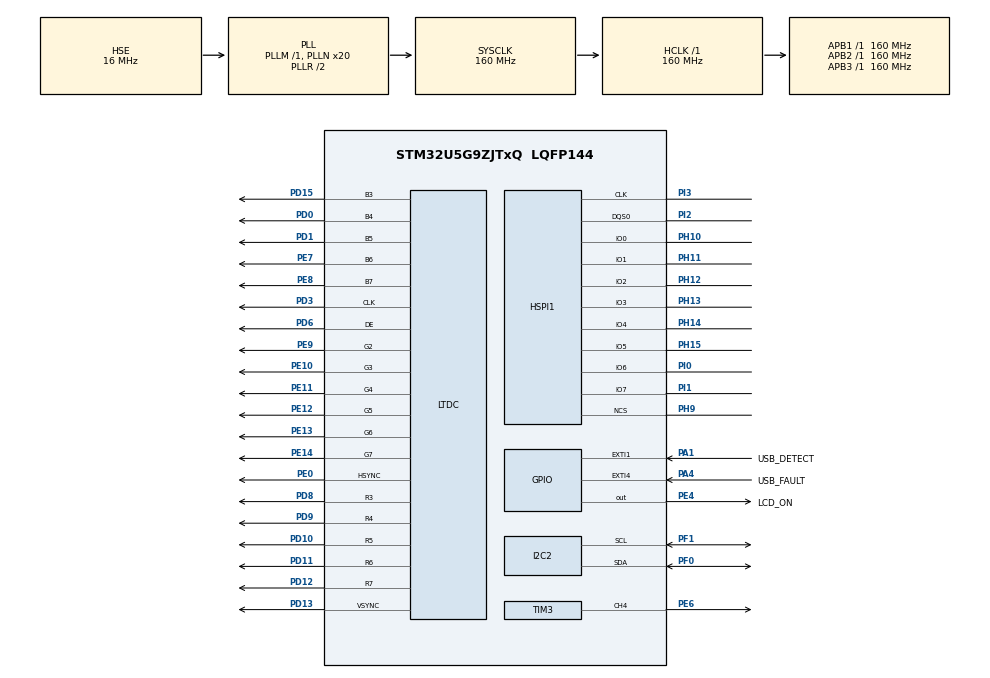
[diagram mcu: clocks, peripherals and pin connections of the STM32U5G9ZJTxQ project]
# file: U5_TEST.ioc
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CORTEX_M33_NS.userName=CORTEX_M33
I2C2.Timing=0x30909DEC
Mcu.Family=STM32U5
Mcu.Name=STM32U5G9ZJTxQ
Mcu.Package=LQFP144
NVIC.EXTI1_IRQn=true\:0\:0\:false\:false\:true\:true\:true\:true
NVIC.EXTI4_IRQn=true\:0\:0\:false\:false\:true\:true\:true\:true
NVIC.PriorityGroup=NVIC_PRIORITYGROUP_4
NVIC.TIM6_IRQn=true\:0\:0\:false\:false\:true\:true\:true\:true
PA1.GPIO_Label=USB_DETECT
PA1.GPIO_ModeDefaultEXTI=GPIO_MODE_IT_RISING_FALLING
PA1.Signal=GPXTI1
PA10.Signal=USART1_RX
PA11.Signal=USB_OTG_HS_DM
PA12.Signal=USB_OTG_HS_DP
PA13\ (JTMS/SWDIO).Mode=Serial_Wire
PA13\ (JTMS/SWDIO).Signal=DEBUG_JTMS-SWDIO
PA14\ (JTCK/SWCLK).Mode=Serial_Wire
PA14\ (JTCK/SWCLK).Signal=DEBUG_JTCK-SWCLK
PA4.GPIO_Label=USB_FAULT
PA4.GPIO_ModeDefaultEXTI=GPIO_MODE_IT_FALLING
PA4.GPIO_PuPd=GPIO_PULLUP
PA4.Signal=GPXTI4
PA9.Signal=USART1_TX
PB2.Signal=LTDC_B1
PB3\ (JTDO/TRACESWO).Signal=DEBUG_JTDO-SWO
PC14-OSC32_IN\ (PC14).Mode=LSE-External-Oscillator
PC14-OSC32_IN\ (PC14).Signal=RCC_OSC32_IN
PC15-OSC32_OUT\ (PC15).Mode=LSE-External-Oscillator
PC15-OSC32_OUT\ (PC15).Signal=RCC_OSC32_OUT
PC6.Signal=LTDC_R0
PC7.Signal=LTDC_R1
PD0.Mode=RGB565
PD0.Signal=LTDC_B4
PD1.Mode=RGB565
PD1.Signal=LTDC_B5
PD10.Mode=RGB565
PD10.Signal=LTDC_R5
PD11.Mode=RGB565
PD11.Signal=LTDC_R6
PD12.Mode=RGB565
PD12.Signal=LTDC_R7
PD13.Mode=RGB565
PD13.Signal=LTDC_VSYNC
PD15.Mode=RGB565
PD15.Signal=LTDC_B3
PD3.Mode=RGB565
PD3.Signal=LTDC_CLK
PD6.Mode=RGB565
PD6.Signal=LTDC_DE
PD8.Mode=RGB565
PD8.Signal=LTDC_R3
PD9.Mode=RGB565
PD9.Signal=LTDC_R4
PE0.Mode=RGB565
PE0.Signal=LTDC_HSYNC
PE10.Mode=RGB565
PE10.Signal=LTDC_G3
PE11.Mode=RGB565
PE11.Signal=LTDC_G4
PE12.Mode=RGB565
PE12.Signal=LTDC_G5
PE13.Mode=RGB565
PE13.Signal=LTDC_G6
PE14.Mode=RGB565
PE14.Signal=LTDC_G7
PE4.GPIO_Label=LCD_ON
PE4.PinState=GPIO_PIN_SET
PE4.Signal=GPIO_Output
PE6.Signal=S_TIM3_CH4
PE7.Mode=RGB565
PE7.Signal=LTDC_B6
PE8.Mode=RGB565
PE8.Signal=LTDC_B7
PE9.Mode=RGB565
PE9.Signal=LTDC_G2
PF0.Mode=I2C
PF0.Signal=I2C2_SDA
PF1.Mode=I2C
PF1.Signal=I2C2_SCL
PH0-OSC_IN\ (PH0).Mode=HSE-External-Oscillator
PH0-OSC_IN\ (PH0).Signal=RCC_OSC_IN
PH1-OSC_OUT\ (PH1).Mode=HSE-External-Oscillator
PH1-OSC_OUT\ (PH1).Signal=RCC_OSC_OUT
PH10.Mode=octo_mode
PH10.Signal=HSPI1_IO0
PH11.Mode=octo_mode
PH11.Signal=HSPI1_IO1
PH12.Mode=octo_mode
PH12.Signal=HSPI1_IO2
PH13.Mode=octo_mode
PH13.Signal=HSPI1_IO3
PH14.Mode=octo_mode
PH14.Signal=HSPI1_IO4
PH15.Mode=octo_mode
PH15.Signal=HSPI1_IO5
PH9.Mode=octo_mode
PH9.Signal=HSPI1_NCS
PI0.Mode=octo_mode
PI0.Signal=HSPI1_IO6
PI1.Mode=octo_mode
PI1.Signal=HSPI1_IO7
PI2.Mode=octo_mode
PI2.Signal=HSPI1_DQS0
PI3.Mode=octo_mode
PI3.Signal=HSPI1_CLK
PWR.PowerMode=PWR_SMPS_SUPPLY
ProjectManager.HeapSize=0x0800
ProjectManager.StackSize=0x400
ProjectManager.TargetToolchain=STM32CubeIDE
RCC.ADCFreq_Value=16000000
RCC.AHBFreq_Value=160000000
RCC.APB1Freq_Value=160000000
RCC.APB1TimFreq_Value=160000000
RCC.APB2Freq_Value=160000000
RCC.APB2TimFreq_Value=160000000
RCC.APB3Freq_Value=160000000
RCC.CortexFreq_Value=160000000
RCC.EPOD_VALUE=16000000
RCC.HCLKFreq_Value=160000000
RCC.HSE_VALUE=16000000
RCC.HSI48_VALUE=48000000
RCC.HSI_VALUE=16000000
RCC.LSIDIV_VALUE=32000
RCC.LTDCCLockSelection=RCC_LTDCCLKSOURCE_PLL3
RCC.MSIClockRange=RCC_MSIRANGE_0
RCC.MSI_VALUE=48000000
RCC.PLL1P=8
RCC.PLL2FRACN=0
RCC.PLL2N=25
RCC.PLL2Q=3
RCC.PLL2R=4
RCC.PLL3FRACN=0
RCC.PLL3M=4
RCC.PLL3N=50
RCC.PLL3R=8
RCC.PLL3Source=RCC_PLLSOURCE_HSE
RCC.PLLN=20
RCC.PLLSourceVirtual=RCC_PLLSOURCE_HSE
RCC.RTCClockSelection=RCC_RTCCLKSOURCE_LSE
RCC.SYSCLKFreq_VALUE=160000000
RCC.SYSCLKSource=RCC_SYSCLKSOURCE_PLLCLK
RCC.VCOOutputFreq_Value=320000000
RCC.rccPrivilegeNSecure=RCC_NSEC_NPRIV
RTC.BinMode=RTC_BINARY_MIX
RTC.HourFormat=RTC_HOURFORMAT_24
RTC.backupRegisterPrivZone=RTC_PRIVILEGE_BKUP_ZONE_NONE
RTC.rtcPrivilegeFull=RTC_PRIVILEGE_FULL_YES
SH.S_TIM3_CH4.0=TIM3_CH4,PWM Generation4 CH4
TIM3.Channel-PWM\ Generation4\ CH4=TIM_CHANNEL_4
TIM6.AutoReloadPreload=TIM_AUTORELOAD_PRELOAD_ENABLE
TIM6.PeriodNoDither=8000-1
TIM6.Prescaler=9999
TIM7.AutoReloadPreload=TIM_AUTORELOAD_PRELOAD_ENABLE
TIM7.Prescaler=159
VP_DMA2D_VS_DMA2D.Mode=DMA2D_Activate
VP_ICACHE_VS_ICACHE.Mode=DefaultMode
VP_LPBAMQUEUE_VS_QUEUE.Mode=QUEUEMODE
VP_LPBAM_VS_SIG1.Mode=SmartRun
VP_LPBAM_VS_SIG4.Mode=LPDMA1
VP_MEMORYMAP_VS_MEMORYMAP.Mode=CurAppReg
VP_PWR_VS_LPOM.Mode=PowerOptimisation
VP_PWR_VS_SECSignals.Mode=Security/Privilege
VP_RNG_VS_RNG.Mode=RNG_Activate
VP_RTC_VS_RTC_Activate.Mode=RTC_Enabled
VP_TIM3_VS_ClockSourceINT.Mode=Internal
VP_TIM4_VS_ClockSourceINT.Mode=Internal
VP_TIM6_VS_ClockSourceINT.Mode=Enable_Timer
VP_TIM7_VS_ClockSourceINT.Mode=Enable_Timer
board=STM32U5G9J-DK2

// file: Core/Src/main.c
/* USER CODE BEGIN Header */
/**
  ******************************************************************************
  * @file           : main.c
  * @brief          : Main program body
  ******************************************************************************
  * @attention
  *
  * Copyright (c) 2026 STMicroelectronics.
  * All rights reserved.
  *
  * This software is licensed under terms that can be found in the LICENSE file
  * in the root directory of this software component.
  * If no LICENSE file comes with this software, it is provided AS-IS.
  *
  ******************************************************************************
  */
/* USER CODE END Header */
#include "main.h"

/* USER CODE BEGIN Includes */
#include "back.h"
#include "ADT_F.h"
#include "RTC.h"
#include "demos.h"

/* USER CODE END Includes */

/* USER CODE BEGIN PTD */

TS_State_t TS_State = {0};
TS_Init_t TsInit = {0};
uint8_t idx[25];
uint8_t idy[25];
extern uint32_t shifted;
extern char *weekday[];
extern char tekst[];
extern int32_t century ;
extern uint8_t mode_night ;
extern uint8_t change_colors;

/* USER CODE END PTD */

/* USER CODE BEGIN PD */
extern void TIM6_IRQHandler(void);
/* USER CODE END PD */

DMA2D_HandleTypeDef hdma2d;

XSPI_HandleTypeDef hxspi1;

I2C_HandleTypeDef hi2c2;

RNG_HandleTypeDef hrng;

RTC_HandleTypeDef hrtc;

TIM_HandleTypeDef htim3;
TIM_HandleTypeDef htim4;
TIM_HandleTypeDef htim6;
TIM_HandleTypeDef htim7;

/* USER CODE BEGIN PV */
__IO FlagStatus UserButtonPressed   = RESET;
uint8_t DrawBackround = 0;
__IO uint16_t possition_x = 0;
__IO uint16_t possition_y = 0;
__IO int8_t pressed = 0;
uint16_t demo_xpos;
uint16_t demo_ypos;
uint32_t brightness;
/* USER CODE END PV */

void SystemClock_Config(void);
static void SystemPower_Config(void);
static void MX_GPIO_Init(void);
static void MX_RTC_Init(void);
static void MX_I2C2_Init(void);
static void MX_TIM4_Init(void);
static void MX_DMA2D_Init(void);
static void MX_ICACHE_Init(void);
static void MX_TIM3_Init(void);
static void MX_TIM6_Init(void);
static void MX_HSPI1_Init(void);
static void MX_RNG_Init(void);
static void MX_TIM7_Init(void);

int main(void)
{

  /* MCU Configuration--------------------------------------------------------*/

  /* Reset of all peripherals, Initializes the Flash interface and the Systick. */
  HAL_Init();

  /* Configure the System Power */
  SystemPower_Config();

  /* Configure the system clock */
  SystemClock_Config();

  /* Initialize all configured peripherals */
  MX_GPIO_Init();
  MX_RTC_Init();
  MX_I2C2_Init();
  MX_TIM4_Init();
  MX_DMA2D_Init();
  MX_ICACHE_Init();
  MX_TIM3_Init();
  MX_TIM6_Init();
  MX_HSPI1_Init();
  MX_RNG_Init();
  MX_TIM7_Init();
  /* USER CODE BEGIN 2 */
//  BSP_LED_Init(LED_RED);
  BSP_HSPI_NOR_DeInit(0);
  uint32_t x_size, y_size;
  BSP_LCD_InitEx(0, 1, LCD_PIXEL_FORMAT_RGB565, LCD_DEFAULT_WIDTH, LCD_DEFAULT_HEIGHT);
  BSP_LCD_GetXSize(0, &x_size);
  BSP_LCD_GetYSize(0, &y_size);

  BSP_LCD_InitEx(0, 1, LCD_PIXEL_FORMAT_RGB565, LCD_DEFAULT_WIDTH, LCD_DEFAULT_HEIGHT);
  /* Initialize the TouchScreen */
  TsInit.Width       = x_size;
  TsInit.Height      = y_size;
  TsInit.Orientation = TS_SWAP_NONE;
  TsInit.Accuracy    = 0;
  BSP_TS_Init(0, &TsInit);

  /* Enable TS interrupt */
  BSP_TS_EnableIT(0);

  /* Get LCD default brightness (50%) */
  (void) BSP_LCD_GetBrightness(0,&brightness);

  /* Set LCD brightness to 100% */
  (void) BSP_LCD_SetBrightness(0, 1);
  (void) BSP_LCD_GetBrightness(0,&brightness);
  UTIL_LCD_SetFuncDriver(&LCD_Driver);

extern void main_app(void);
#define FRAME_ADDRESS   ((uint32_t)0x200C0000)
uint16_t* pFBaddr = (uint16_t *) FRAME_ADDRESS;
 for(uint32_t i = 0; i < (800*480*2) ; i++) {
	  pFBaddr[i] = 0;
 }
 prepare_screen_line_address();
 LTDC_Layer1->CFBAR  = FRAME_ADDRESS;
 LTDC->SRCR = LTDC_SRCR_IMR; // immediatelly change
//===========================================
//	RTC_BKP_DR0 ROTATION TEST MODE - NOT USED
//
//	RTC_BKP_DR1 LIGHT VALUE 0 TO 100 brightness
//	RTC_BKP_DR2 COLOR FONTS ENABLED 0 = ENABLED  != 0 DISABLED
//	RTC_BKP_DR3 NIGHT MODE ENABLED 0 = ENABLED  != 0 DISABLED
//	RTC_BKP_DR4 HOURS of calibrate interval
//	RTC_BKP_DR5  SECONDS TO CALIBRATE
//	RTC_BKP_DR6 slideshow mode enabled/disabled
//	RTC_BKP_DR7 night light value
//	RTC_BKP_DR8 epoch LOW 32 bits
//	RTC_BKP_DR9 epoch high 32 bits
//	RTC_BKP_DR10 century

// read setup values
//	HAL_RTCEx_BKUPWrite(&hrtc, RTC_BKP_DR,  21);
//=============================================================
//============ any setup of RTC start values ==================
//=============================================================
#if 0 // init of RTC
	HAL_RTCEx_BKUPWrite(&hrtc, RTC_BKP_DR10, 21);
	extern RTC_TimeTypeDef my_time;
	my_time.Hours = 19;
	my_time.Minutes = 16;
	HAL_RTC_SetTime(&hrtc, &my_time, RTC_FORMAT_BIN);
	HAL_RTCEx_BKUPWrite(&hrtc, RTC_BKP_DR1, 50);  // set brightness
	HAL_RTCEx_BKUPWrite(&hrtc, RTC_BKP_DR10, 21); // set century
#endif
//=============================================================
	TIM6_IRQHandler(); // disable timer6 and IRQ from TIM6
	mode_night = HAL_RTCEx_BKUPRead(&hrtc, RTC_BKP_DR3);

	READ_CENTURY();
	CHECK_CALIBRATE_TIME_VALUES();
	change_colors = HAL_RTCEx_BKUPRead(&hrtc, RTC_BKP_DR2);
	check_slideshow();

	CHECK_CALIBRATE_TIME_VALUES();
//===========================================
	LCD_ClrScr(0);
	(void) BSP_LCD_SetBrightness(0,  0);
	(void) readPicFromFlash (12);

	for(int t = 100; t > -1; t--) {
		(void) BSP_LCD_SetBrightness(0, (uint32_t) t);
		HAL_Delay(50);
	}
	LCD_ClrScr(0);
//===========================================

	(void) BSP_LCD_SetBrightness(0,  50);
	HAL_Delay(50);
	check_night_mode();

	(void) BSP_LCD_SetBrightness(0,  brightness);
	(void) BSP_LCD_GetBrightness(0,&brightness);

	print_RTC();
	wait_for_releasseTS();

//===========================================
  /* USER CODE END 2 */

  /* Infinite loop */
  /* USER CODE BEGIN WHILE */
  while (1)
  {
		test_print_RTC();
		test_setup();
    /* USER CODE END WHILE */

  }
}

void SystemClock_Config(void)
{
  RCC_OscInitTypeDef RCC_OscInitStruct = {0};
  RCC_ClkInitTypeDef RCC_ClkInitStruct = {0};

  /** Configure the main internal regulator output voltage
  */
  if (HAL_PWREx_ControlVoltageScaling(PWR_REGULATOR_VOLTAGE_SCALE1) != HAL_OK)
  {
    Error_Handler();
  }

  /** Configure LSE Drive Capability
  */
  HAL_PWR_EnableBkUpAccess();
  __HAL_RCC_LSEDRIVE_CONFIG(RCC_LSEDRIVE_LOW);

  /** Initializes the CPU, AHB and APB buses clocks
  */
  RCC_OscInitStruct.OscillatorType = RCC_OSCILLATORTYPE_HSI48|RCC_OSCILLATORTYPE_HSE
                              |RCC_OSCILLATORTYPE_LSE;
  RCC_OscInitStruct.HSEState = RCC_HSE_ON;
  RCC_OscInitStruct.LSEState = RCC_LSE_ON;
  RCC_OscInitStruct.HSI48State = RCC_HSI48_ON;
  RCC_OscInitStruct.PLL.PLLState = RCC_PLL_ON;
  RCC_OscInitStruct.PLL.PLLSource = RCC_PLLSOURCE_HSE;
  RCC_OscInitStruct.PLL.PLLMBOOST = RCC_PLLMBOOST_DIV1;
  RCC_OscInitStruct.PLL.PLLM = 1;
  RCC_OscInitStruct.PLL.PLLN = 20;
  RCC_OscInitStruct.PLL.PLLP = 8;
  RCC_OscInitStruct.PLL.PLLQ = 2;
  RCC_OscInitStruct.PLL.PLLR = 2;
  RCC_OscInitStruct.PLL.PLLRGE = RCC_PLLVCIRANGE_1;
  RCC_OscInitStruct.PLL.PLLFRACN = 0;
  if (HAL_RCC_OscConfig(&RCC_OscInitStruct) != HAL_OK)
  {
    Error_Handler();
  }

  /** Initializes the CPU, AHB and APB buses clocks
  */
  RCC_ClkInitStruct.ClockType = RCC_CLOCKTYPE_HCLK|RCC_CLOCKTYPE_SYSCLK
                              |RCC_CLOCKTYPE_PCLK1|RCC_CLOCKTYPE_PCLK2
                              |RCC_CLOCKTYPE_PCLK3;
  RCC_ClkInitStruct.SYSCLKSource = RCC_SYSCLKSOURCE_PLLCLK;
  RCC_ClkInitStruct.AHBCLKDivider = RCC_SYSCLK_DIV1;
  RCC_ClkInitStruct.APB1CLKDivider = RCC_HCLK_DIV1;
  RCC_ClkInitStruct.APB2CLKDivider = RCC_HCLK_DIV1;
  RCC_ClkInitStruct.APB3CLKDivider = RCC_HCLK_DIV1;

  if (HAL_RCC_ClockConfig(&RCC_ClkInitStruct, FLASH_LATENCY_4) != HAL_OK)
  {
    Error_Handler();
  }
}

/**
  * @brief Power Configuration
  * @retval None
  */
static void SystemPower_Config(void)
{

  /*
   * Switch to SMPS regulator instead of LDO
   */
  if (HAL_PWREx_ConfigSupply(PWR_SMPS_SUPPLY) != HAL_OK)
  {
    Error_Handler();
  }
}

static void MX_DMA2D_Init(void)
{

  hdma2d.Instance = DMA2D;
  hdma2d.Init.Mode = DMA2D_M2M;
  hdma2d.Init.ColorMode = DMA2D_OUTPUT_ARGB8888;
  hdma2d.Init.OutputOffset = 0;
  hdma2d.Init.BytesSwap = DMA2D_BYTES_REGULAR;
  hdma2d.Init.LineOffsetMode = DMA2D_LOM_PIXELS;
  hdma2d.LayerCfg[1].InputOffset = 0;
  hdma2d.LayerCfg[1].InputColorMode = DMA2D_INPUT_ARGB8888;
  hdma2d.LayerCfg[1].AlphaMode = DMA2D_NO_MODIF_ALPHA;
  hdma2d.LayerCfg[1].InputAlpha = 0;
  hdma2d.LayerCfg[1].AlphaInverted = DMA2D_REGULAR_ALPHA;
  hdma2d.LayerCfg[1].RedBlueSwap = DMA2D_RB_REGULAR;
  if (HAL_DMA2D_Init(&hdma2d) != HAL_OK)
  {
    Error_Handler();
  }
  if (HAL_DMA2D_ConfigLayer(&hdma2d, 1) != HAL_OK)
  {
    Error_Handler();
  }

}

static void MX_HSPI1_Init(void)
{

  /* HSPI1 parameter configuration*/
  hxspi1.Instance = HSPI1;
  hxspi1.Init.FifoThresholdByte = 1;
  hxspi1.Init.MemoryMode = HAL_XSPI_SINGLE_MEM;
  hxspi1.Init.MemoryType = HAL_XSPI_MEMTYPE_MICRON;
  hxspi1.Init.MemorySize = HAL_XSPI_SIZE_16B;
  hxspi1.Init.ChipSelectHighTimeCycle = 1;
  hxspi1.Init.FreeRunningClock = HAL_XSPI_FREERUNCLK_DISABLE;
  hxspi1.Init.ClockMode = HAL_XSPI_CLOCK_MODE_0;
  hxspi1.Init.WrapSize = HAL_XSPI_WRAP_NOT_SUPPORTED;
  hxspi1.Init.ClockPrescaler = 0;
  hxspi1.Init.SampleShifting = HAL_XSPI_SAMPLE_SHIFT_NONE;
  hxspi1.Init.DelayHoldQuarterCycle = HAL_XSPI_DHQC_DISABLE;
  hxspi1.Init.ChipSelectBoundary = HAL_XSPI_BONDARYOF_NONE;
  hxspi1.Init.MaxTran = 0;
  hxspi1.Init.Refresh = 0;
  if (HAL_XSPI_Init(&hxspi1) != HAL_OK)
  {
    Error_Handler();
  }

}

static void MX_I2C2_Init(void)
{

  hi2c2.Instance = I2C2;
  hi2c2.Init.Timing = 0x30909DEC;
  hi2c2.Init.OwnAddress1 = 0;
  hi2c2.Init.AddressingMode = I2C_ADDRESSINGMODE_7BIT;
  hi2c2.Init.DualAddressMode = I2C_DUALADDRESS_DISABLE;
  hi2c2.Init.OwnAddress2 = 0;
  hi2c2.Init.OwnAddress2Masks = I2C_OA2_NOMASK;
  hi2c2.Init.GeneralCallMode = I2C_GENERALCALL_DISABLE;
  hi2c2.Init.NoStretchMode = I2C_NOSTRETCH_DISABLE;
  if (HAL_I2C_Init(&hi2c2) != HAL_OK)
  {
    Error_Handler();
  }

  /** Configure Analogue filter
  */
  if (HAL_I2CEx_ConfigAnalogFilter(&hi2c2, I2C_ANALOGFILTER_ENABLE) != HAL_OK)
  {
    Error_Handler();
  }

  /** Configure Digital filter
  */
  if (HAL_I2CEx_ConfigDigitalFilter(&hi2c2, 0) != HAL_OK)
  {
    Error_Handler();
  }

}

static void MX_ICACHE_Init(void)
{

  /** Enable instruction cache (default 2-ways set associative cache)
  */
  if (HAL_ICACHE_Enable() != HAL_OK)
  {
    Error_Handler();
  }

}

static void MX_RNG_Init(void)
{

  hrng.Instance = RNG;
  hrng.Init.ClockErrorDetection = RNG_CED_ENABLE;
  if (HAL_RNG_Init(&hrng) != HAL_OK)
  {
    Error_Handler();
  }

}

static void MX_RTC_Init(void)
{

  RTC_PrivilegeStateTypeDef privilegeState = {0};

  /** Initialize RTC Only
  */
  hrtc.Instance = RTC;
  hrtc.Init.HourFormat = RTC_HOURFORMAT_24;
  hrtc.Init.AsynchPrediv = 127;
  hrtc.Init.SynchPrediv = 255;
  hrtc.Init.OutPut = RTC_OUTPUT_DISABLE;
  hrtc.Init.OutPutRemap = RTC_OUTPUT_REMAP_NONE;
  hrtc.Init.OutPutPolarity = RTC_OUTPUT_POLARITY_HIGH;
  hrtc.Init.OutPutType = RTC_OUTPUT_TYPE_OPENDRAIN;
  hrtc.Init.OutPutPullUp = RTC_OUTPUT_PULLUP_NONE;
  hrtc.Init.BinMode = RTC_BINARY_MIX;
  hrtc.Init.BinMixBcdU = RTC_BINARY_MIX_BCDU_0;
  if (HAL_RTC_Init(&hrtc) != HAL_OK)
  {
    Error_Handler();
  }
  privilegeState.rtcPrivilegeFull = RTC_PRIVILEGE_FULL_YES;
  privilegeState.backupRegisterPrivZone = RTC_PRIVILEGE_BKUP_ZONE_NONE;
  privilegeState.backupRegisterStartZone2 = RTC_BKP_DR0;
  privilegeState.backupRegisterStartZone3 = RTC_BKP_DR0;
  if (HAL_RTCEx_PrivilegeModeSet(&hrtc, &privilegeState) != HAL_OK)
  {
    Error_Handler();
  }

}

static void MX_TIM3_Init(void)
{

  TIM_ClockConfigTypeDef sClockSourceConfig = {0};
  TIM_MasterConfigTypeDef sMasterConfig = {0};
  TIM_OC_InitTypeDef sConfigOC = {0};

  htim3.Instance = TIM3;
  htim3.Init.Prescaler = 0;
  htim3.Init.CounterMode = TIM_COUNTERMODE_UP;
  htim3.Init.Period = 4294967295;
  htim3.Init.ClockDivision = TIM_CLOCKDIVISION_DIV1;
  htim3.Init.AutoReloadPreload = TIM_AUTORELOAD_PRELOAD_DISABLE;
  if (HAL_TIM_Base_Init(&htim3) != HAL_OK)
  {
    Error_Handler();
  }
  sClockSourceConfig.ClockSource = TIM_CLOCKSOURCE_INTERNAL;
  if (HAL_TIM_ConfigClockSource(&htim3, &sClockSourceConfig) != HAL_OK)
  {
    Error_Handler();
  }
  if (HAL_TIM_PWM_Init(&htim3) != HAL_OK)
  {
    Error_Handler();
  }
  sMasterConfig.MasterOutputTrigger = TIM_TRGO_RESET;
  sMasterConfig.MasterSlaveMode = TIM_MASTERSLAVEMODE_DISABLE;
  if (HAL_TIMEx_MasterConfigSynchronization(&htim3, &sMasterConfig) != HAL_OK)
  {
    Error_Handler();
  }
  sConfigOC.OCMode = TIM_OCMODE_PWM1;
  sConfigOC.Pulse = 0;
  sConfigOC.OCPolarity = TIM_OCPOLARITY_HIGH;
  sConfigOC.OCFastMode = TIM_OCFAST_DISABLE;
  if (HAL_TIM_PWM_ConfigChannel(&htim3, &sConfigOC, TIM_CHANNEL_4) != HAL_OK)
  {
    Error_Handler();
  }
  HAL_TIM_MspPostInit(&htim3);

}

static void MX_TIM4_Init(void)
{

  TIM_ClockConfigTypeDef sClockSourceConfig = {0};
  TIM_MasterConfigTypeDef sMasterConfig = {0};

  htim4.Instance = TIM4;
  htim4.Init.Prescaler = 0;
  htim4.Init.CounterMode = TIM_COUNTERMODE_UP;
  htim4.Init.Period = 4294967295;
  htim4.Init.ClockDivision = TIM_CLOCKDIVISION_DIV1;
  htim4.Init.AutoReloadPreload = TIM_AUTORELOAD_PRELOAD_DISABLE;
  if (HAL_TIM_Base_Init(&htim4) != HAL_OK)
  {
    Error_Handler();
  }
  sClockSourceConfig.ClockSource = TIM_CLOCKSOURCE_INTERNAL;
  if (HAL_TIM_ConfigClockSource(&htim4, &sClockSourceConfig) != HAL_OK)
  {
    Error_Handler();
  }
  sMasterConfig.MasterOutputTrigger = TIM_TRGO_RESET;
  sMasterConfig.MasterSlaveMode = TIM_MASTERSLAVEMODE_DISABLE;
  if (HAL_TIMEx_MasterConfigSynchronization(&htim4, &sMasterConfig) != HAL_OK)
  {
    Error_Handler();
  }

}

static void MX_TIM6_Init(void)
{

  TIM_MasterConfigTypeDef sMasterConfig = {0};

  htim6.Instance = TIM6;
  htim6.Init.Prescaler = 9999;
  htim6.Init.CounterMode = TIM_COUNTERMODE_UP;
  htim6.Init.Period = 7999;
  htim6.Init.AutoReloadPreload = TIM_AUTORELOAD_PRELOAD_ENABLE;
  if (HAL_TIM_Base_Init(&htim6) != HAL_OK)
  {
    Error_Handler();
  }
  sMasterConfig.MasterOutputTrigger = TIM_TRGO_RESET;
  sMasterConfig.MasterSlaveMode = TIM_MASTERSLAVEMODE_DISABLE;
  if (HAL_TIMEx_MasterConfigSynchronization(&htim6, &sMasterConfig) != HAL_OK)
  {
    Error_Handler();
  }

}

static void MX_TIM7_Init(void)
{

  TIM_MasterConfigTypeDef sMasterConfig = {0};

  htim7.Instance = TIM7;
  htim7.Init.Prescaler = 159;
  htim7.Init.CounterMode = TIM_COUNTERMODE_UP;
  htim7.Init.Period = 65535;
  htim7.Init.AutoReloadPreload = TIM_AUTORELOAD_PRELOAD_ENABLE;
  if (HAL_TIM_Base_Init(&htim7) != HAL_OK)
  {
    Error_Handler();
  }
  sMasterConfig.MasterOutputTrigger = TIM_TRGO_RESET;
  sMasterConfig.MasterSlaveMode = TIM_MASTERSLAVEMODE_DISABLE;
  if (HAL_TIMEx_MasterConfigSynchronization(&htim7, &sMasterConfig) != HAL_OK)
  {
    Error_Handler();
  }

}

static void MX_GPIO_Init(void)
{
  GPIO_InitTypeDef GPIO_InitStruct = {0};

  /* GPIO Ports Clock Enable */
  __HAL_RCC_GPIOE_CLK_ENABLE();
  __HAL_RCC_GPIOC_CLK_ENABLE();
  __HAL_RCC_GPIOF_CLK_ENABLE();
  __HAL_RCC_GPIOH_CLK_ENABLE();
  __HAL_RCC_GPIOA_CLK_ENABLE();
  __HAL_RCC_GPIOB_CLK_ENABLE();
  __HAL_RCC_GPIOD_CLK_ENABLE();
  __HAL_RCC_GPIOI_CLK_ENABLE();

  /*Configure GPIO pin Output Level */
  HAL_GPIO_WritePin(LCD_ON_GPIO_Port, LCD_ON_Pin, GPIO_PIN_SET);

  /*Configure GPIO pin : LCD_ON_Pin */
  GPIO_InitStruct.Pin = LCD_ON_Pin;
  GPIO_InitStruct.Mode = GPIO_MODE_OUTPUT_PP;
  GPIO_InitStruct.Pull = GPIO_NOPULL;
  GPIO_InitStruct.Speed = GPIO_SPEED_FREQ_LOW;
  HAL_GPIO_Init(LCD_ON_GPIO_Port, &GPIO_InitStruct);

  /*Configure GPIO pin : USB_DETECT_Pin */
  GPIO_InitStruct.Pin = USB_DETECT_Pin;
  GPIO_InitStruct.Mode = GPIO_MODE_IT_RISING_FALLING;
  GPIO_InitStruct.Pull = GPIO_NOPULL;
  HAL_GPIO_Init(USB_DETECT_GPIO_Port, &GPIO_InitStruct);

  /*Configure GPIO pin : USB_FAULT_Pin */
  GPIO_InitStruct.Pin = USB_FAULT_Pin;
  GPIO_InitStruct.Mode = GPIO_MODE_IT_FALLING;
  GPIO_InitStruct.Pull = GPIO_PULLUP;
  HAL_GPIO_Init(USB_FAULT_GPIO_Port, &GPIO_InitStruct);

  /*Configure GPIO pins : PA9 PA10 */
  GPIO_InitStruct.Pin = GPIO_PIN_9|GPIO_PIN_10;
  GPIO_InitStruct.Mode = GPIO_MODE_AF_PP;
  GPIO_InitStruct.Pull = GPIO_NOPULL;
  GPIO_InitStruct.Speed = GPIO_SPEED_FREQ_LOW;
  GPIO_InitStruct.Alternate = GPIO_AF7_USART1;
  HAL_GPIO_Init(GPIOA, &GPIO_InitStruct);

  /*Configure GPIO pins : PA11 PA12 */
  GPIO_InitStruct.Pin = GPIO_PIN_11|GPIO_PIN_12;
  GPIO_InitStruct.Mode = GPIO_MODE_AF_PP;
  GPIO_InitStruct.Pull = GPIO_NOPULL;
  GPIO_InitStruct.Speed = GPIO_SPEED_FREQ_LOW;
  HAL_GPIO_Init(GPIOA, &GPIO_InitStruct);

  /* EXTI interrupt init*/
  HAL_NVIC_SetPriority(EXTI1_IRQn, 0, 0);
  HAL_NVIC_EnableIRQ(EXTI1_IRQn);

  HAL_NVIC_SetPriority(EXTI4_IRQn, 0, 0);
  HAL_NVIC_EnableIRQ(EXTI4_IRQn);

}

/* USER CODE BEGIN 4 */
/**
  * @brief EXTI line detection callbacks.
  * @param GPIO_Pin: Specifies the pins connected EXTI line
  * @retval None
  */
void HAL_GPIO_EXTI_Rising_Callback(uint16_t GPIO_Pin)
{

  if (GPIO_Pin == TS_INT_PIN)
  {
    /* Communication with TS is done via I2C.
    Often the sw requires ISRs (interrupt service routines) to be quick while communication
    with I2C can be considered relatively long (depending on SW requirements).
    Considering that the TS feature don't need immediate reaction,
	it is suggested to use polling mode instead of EXTI mode,
    in order to avoid blocking I2C communication on interrupt service routines */

    /* Here an example of implementation is proposed which is a mix between pooling and exit mode:
    On ISR a flag is set (exti5_received), the main loop polls on the flag rather then polling the TS;
    Mcu communicates with TS only when the flag has been set by ISR. This is just an example:
    the users should choose they strategy depending on their application needs.*/
    TS_State.TouchDetected = 0;

    if (BSP_TS_GetState(0, &TS_State) != BSP_ERROR_NONE)
    {
      Error_Handler();
    }

    if(TS_State.TouchDetected)
    {
      /* Get X and Y position of the touch post calibrated */
    	possition_x = TS_State.TouchX;
    	possition_y = TS_State.TouchY;
      pressed = 1;
    }

    /* Initialize touch coordinates */
    TS_State.TouchX = 0;
    TS_State.TouchY = 0;
  }
}
//===
void EXTI5_IRQHandler(void)
{

  HAL_GPIO_EXTI_IRQHandler(0x20);

}
//===
/* USER CODE END 4 */

void Error_Handler(void)
{
  __disable_irq();
  while (1)
  {
  }
}
